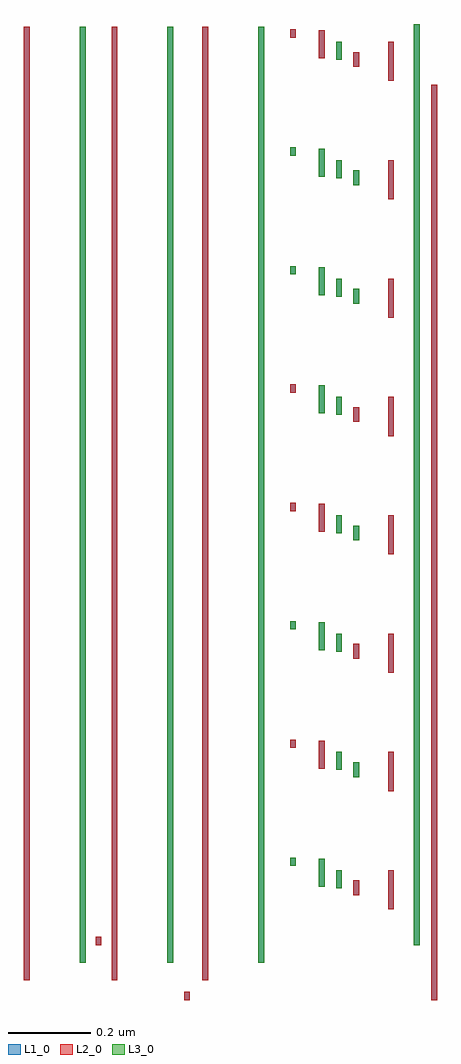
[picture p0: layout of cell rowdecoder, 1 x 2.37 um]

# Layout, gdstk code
import gdstk
lib = gdstk.Library(unit=1e-6, precision=5e-10)
def R(c, l, rs):  # rectangles x0, y0, x1, y1
    for r in rs: c.add(gdstk.rectangle(r[:2], r[2:], *l))
def A(c, l, x, y, w, h, nx, ny, dx, dy):  # array of equal rectangles
    R(c, l, [(x+i*dx, y+j*dy, x+i*dx+w, y+j*dy+h) for i in range(nx) for j in range(ny)])
L1_0 = (1, 0)
L2_0 = (2, 0)
L3_0 = (3, 0)

nor_5 = lib.new_cell('nor_5')
R(nor_5, L1_0, [(0.114,-0.01,0.128,0.085), (-0.012,0.0415,0.002,0.085)])
R(nor_5, L2_0, [(0.114,-0.01,0.128,0.085)])
R(nor_5, L3_0, [(-0.012,0.0415,0.002,0.085)])

rowdecoder = lib.new_cell('rowdecoder')
R(rowdecoder, L1_0, [(0.429,0.0515,0.443,0.0715), (1.0285,0.0515,1.0425,2.2715), (0.0405,0.0995,0.0545,2.412), (0.253,0.0995,0.267,2.412), (0.4735,0.0995,0.4875,2.412), (0.176,0.142,0.19,2.412), (0.3885,0.142,0.4025,2.412), (0.609,0.142,0.623,2.412), (0.2145,0.1845,0.2285,0.2045), (0.9865,0.1845,1.0005,2.4185), (0.8395,0.3055,0.8535,0.3415), (0.7555,0.326,0.7695,0.394), (0.686,0.3765,0.7,0.3965), (0.8395,0.592,0.8535,0.628), (0.7555,0.6125,0.7695,0.6805), (0.686,0.663,0.7,0.683), (0.8395,0.8795,0.8535,0.9155), (0.7555,0.9,0.7695,0.968), (0.686,0.9505,0.7,0.9705), (0.8395,1.166,0.8535,1.202), (0.7555,1.1865,0.7695,1.2545), (0.686,1.237,0.7,1.257), (0.8395,1.4535,0.8535,1.4895), (0.7555,1.474,0.7695,1.542), (0.686,1.5245,0.7,1.5445), (0.8395,1.74,0.8535,1.776), (0.7555,1.7605,0.7695,1.8285), (0.686,1.811,0.7,1.831), (0.8395,2.028,0.8535,2.064), (0.7555,2.0485,0.7695,2.1165), (0.686,2.099,0.7,2.119), (0.8395,2.3145,0.8535,2.3505), (0.7555,2.335,0.7695,2.403), (0.686,2.3855,0.7,2.4055)])
A(rowdecoder, L2_0, 0.8395, 0.3055, 0.014, 0.036, 1, 3, 0, 0.574)
R(rowdecoder, L2_0, [(0.429,0.0515,0.443,0.0715), (1.0285,0.0515,1.0425,2.2715), (0.0405,0.0995,0.0545,2.412), (0.253,0.0995,0.267,2.412), (0.4735,0.0995,0.4875,2.412), (0.2145,0.1845,0.2285,0.2045), (0.7555,0.6125,0.7695,0.6805), (0.686,0.663,0.7,0.683), (0.7555,1.1865,0.7695,1.2545), (0.686,1.237,0.7,1.257), (0.686,1.5245,0.7,1.5445), (0.8395,2.3145,0.8535,2.3505), (0.7555,2.335,0.7695,2.403), (0.686,2.3855,0.7,2.4055)])
A(rowdecoder, L3_0, 0.7555, 0.326, 0.014, 0.068, 1, 3, 0, 0.574)
A(rowdecoder, L3_0, 0.8395, 0.592, 0.014, 0.036, 1, 3, 0, 0.574)
R(rowdecoder, L3_0, [(0.176,0.142,0.19,2.412), (0.3885,0.142,0.4025,2.412), (0.609,0.142,0.623,2.412), (0.9865,0.1845,1.0005,2.4185), (0.686,0.3765,0.7,0.3965), (0.686,0.9505,0.7,0.9705), (0.7555,1.7605,0.7695,1.8285), (0.686,1.811,0.7,1.831), (0.8395,2.028,0.8535,2.064), (0.7555,2.0485,0.7695,2.1165), (0.686,2.099,0.7,2.119)])
rowdecoder.add(gdstk.Reference(nor_5, (0.8095,2.2905)))
rowdecoder.add(gdstk.Reference(nor_5, (0.8095,2.0035)))
rowdecoder.add(gdstk.Reference(nor_5, (0.8095,1.716)))
rowdecoder.add(gdstk.Reference(nor_5, (0.8095,1.429)))
rowdecoder.add(gdstk.Reference(nor_5, (0.8095,1.142)))
rowdecoder.add(gdstk.Reference(nor_5, (0.8095,0.855)))
rowdecoder.add(gdstk.Reference(nor_5, (0.8095,0.568)))
rowdecoder.add(gdstk.Reference(nor_5, (0.8095,0.281)))

lib.write_gds('rowdecoder.gds')
